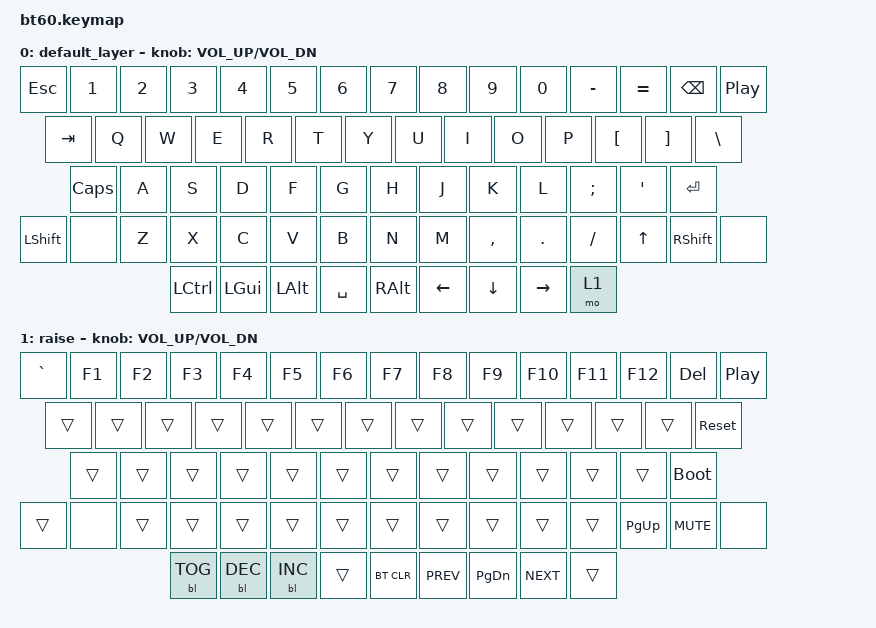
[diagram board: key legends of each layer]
#include <behaviors.dtsi>
#include <dt-bindings/zmk/keys.h>
#include <dt-bindings/zmk/bt.h>
#include <dt-bindings/zmk/rgb.h>
#include <dt-bindings/zmk/backlight.h>

/ {
	keymap {
		compatible = "zmk,keymap";

		default_layer {
				// ------------------------------------------------------------------------------------------
				// | ESC |  1  |  2  |  3  |  4  |  5  |  6  |  7  |  8  |  9  |  0  |  -  |  =  |BKSP | DEL |
				// | TAB  |  Q  |  W  |  E  |  R  |  T  |  Y  |  U  |  I  |  O  |  P  |  [  |  ]  |  |   |
				// | CAPS  |  A  |  S  |  D  |  F  |  G  |  H  |  J  |  K  |  L  |  ;  |  '  |     ENTER    |
				// |  SHIFT|NONE|  Z  |  X  |  C  |  V  |  B  |  N  |  M  |  ,  |  .  | /   | SHFT | UP | 1  |
				// |  CTL  |  WIN  |  ALT  |            SPACE              | ALT | CTRL | LEFT | DOWN | RIGHT |
				// ------------------------------------------------------------------------------------------
			bindings = <
				&kp ESC &kp N1 &kp N2 &kp N3 &kp N4 &kp N5 &kp N6 &kp N7 &kp  N8   &kp  N9 &kp  N0  &kp MINUS &kp EQUAL &kp BSPC &kp C_PP
				&kp TAB  &kp Q  &kp W  &kp E  &kp R  &kp T  &kp Y  &kp U  &kp  I    &kp  O  &kp  P   &kp LBKT &kp RBKT  &kp BSLH
				&kp CLCK  &kp A  &kp S  &kp D  &kp F  &kp G  &kp H  &kp J  &kp  K    &kp  L  &kp SEMI &kp SQT           &kp RET
				&kp LSHFT &none  &kp Z  &kp X  &kp C  &kp V  &kp B  &kp N  &kp M  &kp COMMA &kp DOT &kp FSLH    &kp UP &kp RSHFT   &none
				&kp LCTRL &kp LGUI &kp LALT            &kp SPACE                          &kp RALT  &kp LEFT &kp DOWN &kp RIGHT &mo 1
			>;
			sensor-bindings = <&inc_dec_kp C_VOL_UP C_VOL_DN>;
		};
		raise {
			bindings = <
				&kp GRAVE &kp F1 &kp F2 &kp F3 &kp F4 &kp F5 &kp F6 &kp F7 &kp  F8   &kp  F9 &kp  F10  &kp F11 &kp F12   &kp DEL &kp C_PP
				&trans &trans &trans &trans &trans &trans &trans &trans &trans &trans &trans &trans &trans &sys_reset
				&trans    &trans &trans &trans &trans &trans &trans &trans &trans &trans &trans  &trans   &bootloader
				&trans   &none &trans &trans &trans &trans &trans &trans &trans &trans &trans &trans &kp PG_UP  &kp C_MUTE &none
				&bl BL_TOG &bl BL_DEC  &bl BL_INC              &trans                      &bt BT_CLR  &kp C_PREV &kp PG_DN &kp C_NEXT &trans
			>;
			sensor-bindings = <&inc_dec_kp C_VOL_UP C_VOL_DN>;
		};
	};
};
